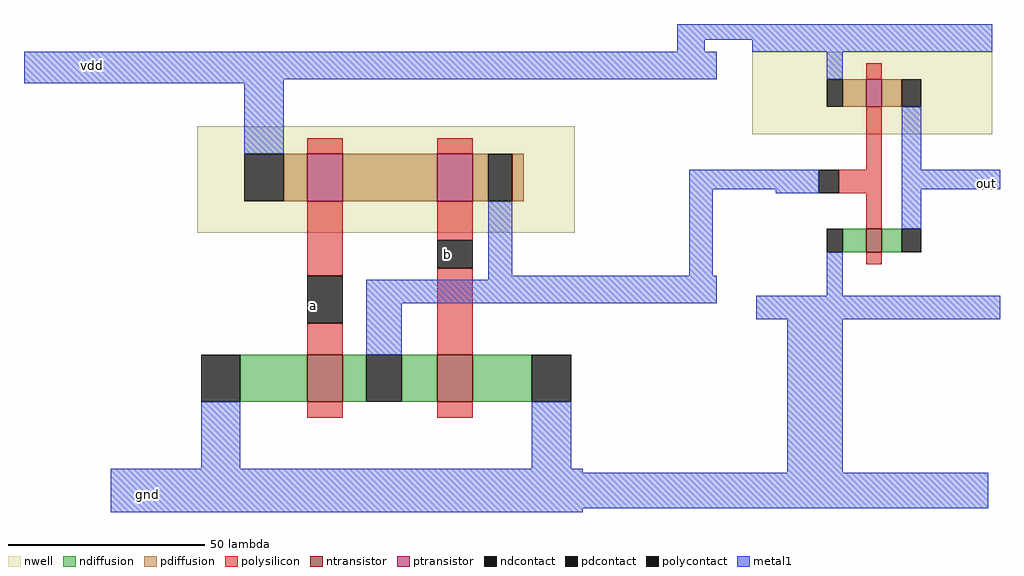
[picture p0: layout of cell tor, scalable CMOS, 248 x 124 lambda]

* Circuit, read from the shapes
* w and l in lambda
.subckt tor a b gnd out vdd
M1 not_0/in a gnd VSUBS nfet w=12 l=9
M2 gnd b not_0/in VSUBS nfet w=12 l=9
M3 out not_0/in gnd VSUBS nfet w=6 l=4
M4 n1 a vdd n2 pfet w=12 l=9
M5 not_0/in b n1 n2 pfet w=12 l=9
M6 out not_0/in vdd n3 pfet w=7 l=4
.ends

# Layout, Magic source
magic
tech scmos
<< nwell >>
rect -46 20 50 47
<< ntransistor >>
rect -18 -23 -9 -11
rect 15 -23 24 -11
<< ptransistor >>
rect -18 28 -9 40
rect 15 28 24 40
<< ndiffusion >>
rect -35 -23 -18 -11
rect -9 -23 -3 -11
rect 6 -23 15 -11
rect 24 -23 39 -11
<< pdiffusion >>
rect -24 28 -18 40
rect -9 28 15 40
rect 24 28 28 40
rect 34 28 37 40
<< ndcontact >>
rect -45 -23 -35 -11
rect -3 -23 6 -11
rect 39 -23 49 -11
<< pdcontact >>
rect -34 28 -24 40
rect 28 28 34 40
<< polysilicon >>
rect -18 40 -9 44
rect 15 40 24 44
rect -18 9 -9 28
rect -18 -11 -9 -3
rect 15 18 24 28
rect 15 -11 24 11
rect -18 -27 -9 -23
rect 15 -27 24 -23
<< polycontact >>
rect -18 -3 -9 9
rect 15 11 24 18
<< metal1 >>
rect 76 69 95 73
rect 76 66 83 69
rect -90 59 86 66
rect -90 58 -24 59
rect -34 40 -24 58
rect 28 9 34 28
rect 79 31 101 36
rect 145 31 158 36
rect 79 9 85 31
rect 28 8 86 9
rect -3 2 86 8
rect -3 -11 6 2
rect -45 -40 -35 -23
rect 39 -40 49 -23
rect -68 -41 52 -40
rect 104 -41 118 -2
rect -68 -50 155 -41
rect -68 -51 52 -50
use not  not_0
transform 1 0 110 0 1 7
box -15 -9 48 66
<< labels >>
rlabel metal1 -59 -47 -58 -46 1 gnd
rlabel metal1 -73 62 -72 63 5 vdd
rlabel polycontact -17 1 -16 2 1 a
rlabel polycontact 17 14 18 15 1 b
rlabel metal1 154 32 155 33 7 out
<< end >>

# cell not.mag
magic
tech scmos
<< nwell >>
rect -15 38 46 59
<< ntransistor >>
rect 14 8 18 14
<< ptransistor >>
rect 14 45 18 52
<< ndiffusion >>
rect 8 8 14 14
rect 18 8 23 14
<< pdiffusion >>
rect 8 45 14 52
rect 18 45 23 52
<< ndcontact >>
rect 4 8 8 14
rect 23 8 28 14
<< pdcontact >>
rect 4 45 8 52
rect 23 45 28 52
<< polysilicon >>
rect 14 52 18 56
rect 14 29 18 45
rect 7 23 18 29
rect 14 14 18 23
rect 14 5 18 8
<< polycontact >>
rect 2 23 7 29
<< metal1 >>
rect -15 59 46 66
rect 4 52 8 59
rect 23 29 28 45
rect -9 23 2 29
rect 23 24 35 29
rect 23 14 28 24
rect 4 -3 8 8
rect -14 -9 48 -3
<< labels >>
rlabel metal1 14 61 16 62 5 vdd
rlabel metal1 32 27 34 28 1 out
rlabel metal1 31 -7 33 -6 1 gnd
rlabel metal1 -5 25 -3 27 1 in
<< end >>
